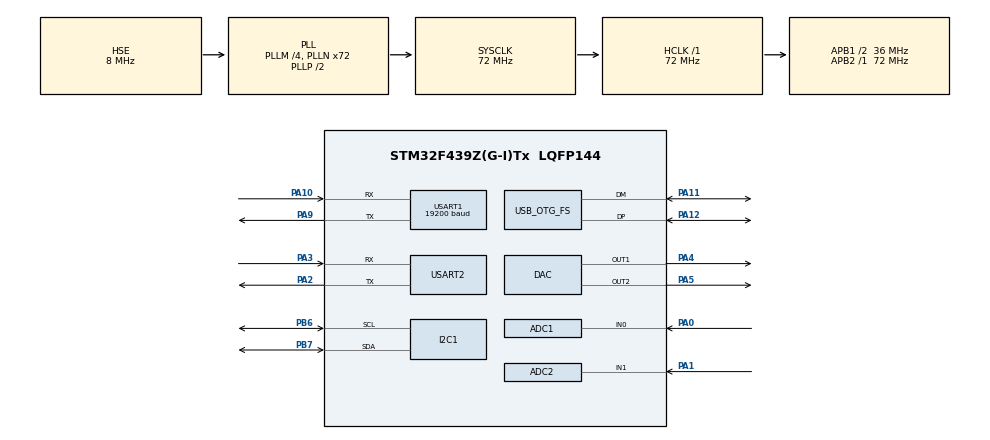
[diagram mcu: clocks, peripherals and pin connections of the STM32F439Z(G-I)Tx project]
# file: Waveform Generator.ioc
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ADC1.Channel-0\#ChannelRegularConversion=ADC_CHANNEL_0
ADC1.NbrOfConversionFlag=1
ADC1.Rank-0\#ChannelRegularConversion=1
ADC1.SamplingTime-0\#ChannelRegularConversion=ADC_SAMPLETIME_3CYCLES
ADC1.master=1
ADC2.Channel-2\#ChannelRegularConversion=ADC_CHANNEL_1
ADC2.NbrOfConversionFlag=1
ADC2.Rank-2\#ChannelRegularConversion=1
ADC2.SamplingTime-2\#ChannelRegularConversion=ADC_SAMPLETIME_3CYCLES
DAC.DAC_Trigger=DAC_TRIGGER_T2_TRGO
DAC.DAC_Trigger2=DAC_TRIGGER_T4_TRGO
DAC.WaveGeneration=DISABLE
Dma.DAC1.0.Direction=DMA_MEMORY_TO_PERIPH
Dma.DAC1.0.FIFOMode=DMA_FIFOMODE_DISABLE
Dma.DAC1.0.Instance=DMA1_Stream5
Dma.DAC1.0.MemDataAlignment=DMA_MDATAALIGN_WORD
Dma.DAC1.0.MemInc=DMA_MINC_ENABLE
Dma.DAC1.0.Mode=DMA_CIRCULAR
Dma.DAC1.0.PeriphDataAlignment=DMA_PDATAALIGN_WORD
Dma.DAC1.0.PeriphInc=DMA_PINC_DISABLE
Dma.DAC1.0.Priority=DMA_PRIORITY_LOW
Dma.DAC2.1.Direction=DMA_MEMORY_TO_PERIPH
Dma.DAC2.1.FIFOMode=DMA_FIFOMODE_DISABLE
Dma.DAC2.1.Instance=DMA1_Stream6
Dma.DAC2.1.MemDataAlignment=DMA_MDATAALIGN_WORD
Dma.DAC2.1.MemInc=DMA_MINC_ENABLE
Dma.DAC2.1.Mode=DMA_CIRCULAR
Dma.DAC2.1.PeriphDataAlignment=DMA_PDATAALIGN_WORD
Dma.DAC2.1.PeriphInc=DMA_PINC_DISABLE
Dma.DAC2.1.Priority=DMA_PRIORITY_LOW
Dma.Request0=DAC1
Dma.Request1=DAC2
Dma.Request2=USART1_RX
Dma.Request3=USART1_TX
Dma.USART1_RX.2.Direction=DMA_PERIPH_TO_MEMORY
Dma.USART1_RX.2.FIFOMode=DMA_FIFOMODE_DISABLE
Dma.USART1_RX.2.Instance=DMA2_Stream2
Dma.USART1_RX.2.MemDataAlignment=DMA_MDATAALIGN_BYTE
Dma.USART1_RX.2.MemInc=DMA_MINC_ENABLE
Dma.USART1_RX.2.Mode=DMA_NORMAL
Dma.USART1_RX.2.PeriphDataAlignment=DMA_PDATAALIGN_BYTE
Dma.USART1_RX.2.PeriphInc=DMA_PINC_DISABLE
Dma.USART1_RX.2.Priority=DMA_PRIORITY_LOW
Dma.USART1_TX.3.Direction=DMA_MEMORY_TO_PERIPH
Dma.USART1_TX.3.FIFOMode=DMA_FIFOMODE_DISABLE
Dma.USART1_TX.3.Instance=DMA2_Stream7
Dma.USART1_TX.3.MemDataAlignment=DMA_MDATAALIGN_BYTE
Dma.USART1_TX.3.MemInc=DMA_MINC_ENABLE
Dma.USART1_TX.3.Mode=DMA_NORMAL
Dma.USART1_TX.3.PeriphDataAlignment=DMA_PDATAALIGN_BYTE
Dma.USART1_TX.3.PeriphInc=DMA_PINC_DISABLE
Dma.USART1_TX.3.Priority=DMA_PRIORITY_LOW
Mcu.Family=STM32F4
Mcu.Name=STM32F439Z(G-I)Tx
Mcu.Package=LQFP144
NVIC.DMA1_Stream5_IRQn=true\:0\:0\:false\:false\:true\:false\:true
NVIC.DMA1_Stream6_IRQn=true\:0\:0\:false\:false\:true\:false\:true
NVIC.DMA2_Stream2_IRQn=true\:0\:0\:false\:false\:true\:false\:true
NVIC.DMA2_Stream7_IRQn=true\:0\:0\:false\:false\:true\:false\:true
NVIC.OTG_FS_IRQn=true\:0\:0\:false\:false\:true\:false\:true
NVIC.PriorityGroup=NVIC_PRIORITYGROUP_4
NVIC.USART1_IRQn=true\:0\:0\:false\:false\:true\:true\:true
NVIC.USART2_IRQn=true\:0\:0\:false\:false\:true\:true\:true
PA0/WKUP.Signal=ADCx_IN0
PA1.Signal=ADCx_IN1
PA10.Mode=Asynchronous
PA10.Signal=USART1_RX
PA11.Mode=Device_Only
PA11.Signal=USB_OTG_FS_DM
PA12.Mode=Device_Only
PA12.Signal=USB_OTG_FS_DP
PA13.Mode=Trace_Asynchronous_SW
PA13.Signal=SYS_JTMS-SWDIO
PA14.Mode=Trace_Asynchronous_SW
PA14.Signal=SYS_JTCK-SWCLK
PA2.Mode=Asynchronous
PA2.Signal=USART2_TX
PA3.Mode=Asynchronous
PA3.Signal=USART2_RX
PA4.Signal=COMP_DAC1_group
PA5.Signal=COMP_DAC2_group
PA9.Mode=Asynchronous
PA9.Signal=USART1_TX
PB3.Mode=Trace_Asynchronous_SW
PB3.Signal=SYS_JTDO-SWO
PB6.Mode=I2C
PB6.Signal=I2C1_SCL
PB7.Mode=I2C
PB7.Signal=I2C1_SDA
PH0/OSC_IN.Mode=HSE-External-Oscillator
PH0/OSC_IN.Signal=RCC_OSC_IN
PH1/OSC_OUT.Mode=HSE-External-Oscillator
PH1/OSC_OUT.Signal=RCC_OSC_OUT
ProjectManager.HeapSize=0x200
ProjectManager.StackSize=0x400
ProjectManager.TargetToolchain=STM32CubeIDE
RCC.48MHZClocksFreq_Value=48000000
RCC.AHBFreq_Value=72000000
RCC.APB1CLKDivider=RCC_HCLK_DIV2
RCC.APB1Freq_Value=36000000
RCC.APB1TimFreq_Value=72000000
RCC.APB2Freq_Value=72000000
RCC.APB2TimFreq_Value=72000000
RCC.CortexFreq_Value=72000000
RCC.HCLKFreq_Value=72000000
RCC.HSE_VALUE=8000000
RCC.HSI_VALUE=16000000
RCC.LSE_VALUE=32768
RCC.PLLM=4
RCC.PLLN=72
RCC.PLLQ=3
RCC.SYSCLKFreq_VALUE=72000000
RCC.SYSCLKSource=RCC_SYSCLKSOURCE_PLLCLK
RCC.VCOOutputFreq_Value=144000000
SH.ADCx_IN0.0=ADC1_IN0,IN0
SH.ADCx_IN1.0=ADC2_IN1,IN1
SH.COMP_DAC1_group.0=DAC_OUT1,DAC_OUT1
SH.COMP_DAC2_group.0=DAC_OUT2,DAC_OUT2
TIM2.AutoReloadPreload=TIM_AUTORELOAD_PRELOAD_ENABLE
TIM2.Period=1
TIM2.Prescaler=1
TIM2.TIM_MasterOutputTrigger=TIM_TRGO_UPDATE
TIM4.AutoReloadPreload=TIM_AUTORELOAD_PRELOAD_ENABLE
TIM4.Period=1
TIM4.Prescaler=1
TIM4.TIM_MasterOutputTrigger=TIM_TRGO_UPDATE
TIM4.TIM_MasterSlaveMode=TIM_MASTERSLAVEMODE_DISABLE
USART1.BaudRate=19200
USART1.Parity=PARITY_EVEN
USART1.StopBits=STOPBITS_2
USART1.VirtualMode=VM_ASYNC
USART1.WordLength=WORDLENGTH_9B
USART2.VirtualMode=VM_ASYNC
USB_DEVICE.CLASS_NAME_FS=CDC
USB_DEVICE.VirtualMode-CDC_FS=Cdc
USB_DEVICE.VirtualModeFS=Cdc_FS
USB_OTG_FS.VirtualMode=Device_Only
VP_TIM2_VS_ClockSourceINT.Mode=Internal
VP_TIM4_VS_ClockSourceINT.Mode=Internal
VP_USB_DEVICE_VS_USB_DEVICE_CDC_FS.Mode=CDC_FS
board=custom

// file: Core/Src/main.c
/* USER CODE BEGIN Header */
/**
  ******************************************************************************
  * @file           : main.c
  * @brief          : Main program body
  ******************************************************************************
  * @attention
  *
  * <h2><center>&copy; Copyright (c) 2021 STMicroelectronics.
  * All rights reserved.</center></h2>
  *
  * This software component is licensed by ST under BSD 3-Clause license,
  * the "License"; You may not use this file except in compliance with the
  * License. You may obtain a copy of the License at:
  *                        opensource.org/licenses/BSD-3-Clause
  *
  ******************************************************************************
  */
/* USER CODE END Header */
#include "main.h"
#include "adc.h"
#include "dac.h"
#include "dma.h"
#include "i2c.h"
#include "tim.h"
#include "usart.h"
#include "usb_device.h"
#include "gpio.h"

/* USER CODE BEGIN Includes */
#include "math.h"
#include "usbd_cdc_if.h" // this is needed to transmit a string of characters
/* USER CODE END Includes */

void SystemClock_Config(void);

/* USER CODE BEGIN 0 */

/* Setting up signal generation */
int Res = 4096;				// DAC resolution.
#define Ns 200  			// Number of samples, Adjusting Ns will affect the frequency of the output signal.
uint32_t sine_val[Ns];  	// Buffer for all the sine bits.
double sine_scaled = 0.9; 	// Scale value. Max value = sine_scaled*3.3. Will result in a deformed signal. Giving a max amplitude of 3.24V
int sine_dc_offset = 248; 	// DC off set value (4096Bits/3300mV)*200mV = 248.24Bits. Chec
#define PI 3.1415926		// Definition of PI
int Freq_Signal_1 = 1000; 	// Frequency of signal 1
int Freq_Signal_2 = 20000; 	// Frequency of signal 2
int PSC;					// Tim2 Pre Scalar value
uint32_t Fclock = 72000000;	// APB1 Timer Clocks
int Period = 1;				// Tim2 Period

void get_sine_val(void){

	// Fsine = FtimerRTGO/Ns,   Fsine = F(timer trigger ouput)/(number of samples)
	// Vsine(x)=(sine(x*(2PI/ns)+1)*((0xFFF+1)/2), this is an adjusted formula to create a positive sine.

	for(int i=0;i<Ns;i++){
		sine_val[i] = ((sin(i*2*PI/Ns)+1)*((Res)/2)); // Sampling step = 2PI/ns
		sine_val[i] = sine_dc_offset + sine_scaled*sine_val[i];
	}
	sine_val[Ns] = 0;
}

void set_clock_TIM2(void){
	  // Fsine = FtimerRTGO/Ns,   Fsine = F(timer trigger ouput)/(number of samples)
	  // Adjust PSC and period in order to manipulate frequency.

	  PSC= (Fclock/Ns)/(Freq_Signal_1*(Period + 1) ) - 1;

	  htim2.Instance = TIM2;
	  htim2.Init.Period = Period; //+1
	  htim2.Init.Prescaler = PSC; //+1 // If this value is < 4 things start to behave funny.
	  if (HAL_TIM_Base_Init(&htim2) != HAL_OK)
	  {
	    Error_Handler();
	  }
}

void set_clock_TIM4(void){
	  // Fsine = FtimerRTGO/Ns,   Fsine = F(timer trigger ouput)/(number of samples)
	  // Adjust PSC and period in order to manipulate frequency.

	  PSC= (Fclock/Ns)/(Freq_Signal_2*(Period + 1) ) - 1;

	  htim4.Instance = TIM4;
	  htim4.Init.Period = Period; //+1
	  htim4.Init.Prescaler = PSC; //+1 // If this value is < 4 things start to behave funny.
	  if (HAL_TIM_Base_Init(&htim4) != HAL_OK)
	  {
	    Error_Handler();
	  }
}

/* Setting up UART communications*/
#define uartSize 8
uint8_t rx_buff[uartSize];
uint8_t tx_buff[] = {0,1,2,3,4,5,6,7};

void HAL_UART_RxCpltCallback(UART_HandleTypeDef *huart){

	// Do something

	HAL_UART_Receive_DMA(&huart1, rx_buff, uartSize); // Receive UART
}

void HAL_UART_TxCpltCallback (UART_HandleTypeDef *huart){
	int i = 100;
	while(i>0){
		i = i -1;
	}

	HAL_UART_Receive_DMA(&huart1, rx_buff, uartSize); // Receive UART
}

/* Setting up USB communications*/
char txBuf[8];
uint8_t count = 1;
/* USER CODE END 0 */

int main(void)
{

  /* MCU Configuration--------------------------------------------------------*/

  /* Reset of all peripherals, Initializes the Flash interface and the Systick. */
  HAL_Init();

  /* Configure the system clock */
  SystemClock_Config();

  /* Initialize all configured peripherals */
  MX_GPIO_Init();
  MX_DMA_Init();
  MX_DAC_Init();
  MX_TIM2_Init();
  MX_TIM4_Init();
  MX_USB_DEVICE_Init();
  MX_ADC1_Init();
  MX_ADC2_Init();
  MX_I2C1_Init();
  MX_USART1_UART_Init();
  MX_USART2_UART_Init();
  /* USER CODE BEGIN 2 */

  /* Sine function */
  set_clock_TIM2();						// Setting frequency of timer 2
  set_clock_TIM4();						// Setting frequency of timer 4
  HAL_TIM_Base_Start(&htim2);			// Start timer 2
  HAL_TIM_Base_Start(&htim4);			// Start timer 4
  get_sine_val();						// Call get sineval function
  HAL_DAC_Start_DMA(&hdac, DAC1_CHANNEL_1, sine_val, Ns, DAC_ALIGN_12B_R); //Start DMA, passing list of sine values.
  HAL_DAC_Start_DMA(&hdac, DAC1_CHANNEL_2, sine_val, Ns, DAC_ALIGN_12B_R); //Start DMA, passing list of sine values.

  /* Setting up USB communications*/
//  char txBuf[8];
//  uint8_t count = 1;
  /* USER CODE END 2 */

  /* Infinite loop */
  /* USER CODE BEGIN WHILE */
  while (1)
  {
	HAL_UART_Receive_DMA(&huart1, rx_buff, uartSize); //set correct UART handler
	HAL_Delay(100);
	HAL_UART_Transmit_DMA(&huart1, tx_buff, uartSize);

	sprintf(txBuf, "%u\r\n", count);
	count++;

	if (count>100){
		count = 1;
	}

	CDC_Transmit_FS((uint8_t *) txBuf, strlen(txBuf));

    /* USER CODE END WHILE */

  }
}

void SystemClock_Config(void)
{
  RCC_OscInitTypeDef RCC_OscInitStruct = {0};
  RCC_ClkInitTypeDef RCC_ClkInitStruct = {0};

  /** Configure the main internal regulator output voltage
  */
  __HAL_RCC_PWR_CLK_ENABLE();
  __HAL_PWR_VOLTAGESCALING_CONFIG(PWR_REGULATOR_VOLTAGE_SCALE3);
  /** Initializes the RCC Oscillators according to the specified parameters
  * in the RCC_OscInitTypeDef structure.
  */
  RCC_OscInitStruct.OscillatorType = RCC_OSCILLATORTYPE_HSE;
  RCC_OscInitStruct.HSEState = RCC_HSE_ON;
  RCC_OscInitStruct.PLL.PLLState = RCC_PLL_ON;
  RCC_OscInitStruct.PLL.PLLSource = RCC_PLLSOURCE_HSE;
  RCC_OscInitStruct.PLL.PLLM = 4;
  RCC_OscInitStruct.PLL.PLLN = 72;
  RCC_OscInitStruct.PLL.PLLP = RCC_PLLP_DIV2;
  RCC_OscInitStruct.PLL.PLLQ = 3;
  if (HAL_RCC_OscConfig(&RCC_OscInitStruct) != HAL_OK)
  {
    Error_Handler();
  }
  /** Initializes the CPU, AHB and APB buses clocks
  */
  RCC_ClkInitStruct.ClockType = RCC_CLOCKTYPE_HCLK|RCC_CLOCKTYPE_SYSCLK
                              |RCC_CLOCKTYPE_PCLK1|RCC_CLOCKTYPE_PCLK2;
  RCC_ClkInitStruct.SYSCLKSource = RCC_SYSCLKSOURCE_PLLCLK;
  RCC_ClkInitStruct.AHBCLKDivider = RCC_SYSCLK_DIV1;
  RCC_ClkInitStruct.APB1CLKDivider = RCC_HCLK_DIV2;
  RCC_ClkInitStruct.APB2CLKDivider = RCC_HCLK_DIV1;

  if (HAL_RCC_ClockConfig(&RCC_ClkInitStruct, FLASH_LATENCY_2) != HAL_OK)
  {
    Error_Handler();
  }
}

void Error_Handler(void)
{
}

/************************ (C) COPYRIGHT STMicroelectronics *****END OF FILE****/
